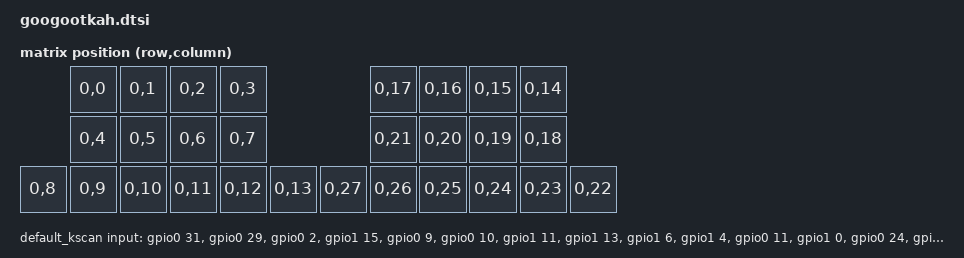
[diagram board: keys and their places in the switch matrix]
#include <dt-bindings/zmk/matrix_transform.h>

// nice!view setup
&pinctrl {
    spi0_default: spi0_default {
        group1 {
            psels = <NRF_PSEL(SPIM_SCK, 1, 2)>,
                    <NRF_PSEL(SPIM_MOSI, 1, 7)>,
                    <NRF_PSEL(SPIM_MISO, 10, 0)>;
        };
    };
    spi0_sleep: spi0_sleep {
        group1 {
            psels = <NRF_PSEL(SPIM_SCK, 1, 2)>,
                    <NRF_PSEL(SPIM_MOSI, 1, 7)>,
                    <NRF_PSEL(SPIM_MISO, 10, 0)>;
            low-power-enable;
        };
    };
};

nice_view_spi: &spi0 {
    compatible = "nordic,nrf-spim";
    pinctrl-0 = <&spi0_default>;
    pinctrl-1 = <&spi0_sleep>;
    pinctrl-names = "default", "sleep";
    cs-gpios = <&gpio1 1 GPIO_ACTIVE_HIGH>;
};


&pro_micro_i2c {
    status = "disabled";
};

// Key scan setup
/ {
    chosen {
        zmk,kscan = &default_kscan;
        zmk,matrix_transform = &default_transform;
    };

    default_transform: keymap_transform_0 {
        compatible = "zmk,matrix-transform";
        columns = <24>;
        rows = <1>;
        map = <
                     RC(0,0)  RC(0,1)  RC(0,2)  RC(0,3)                      RC(0,17) RC(0,16) RC(0,15) RC(0,14)  
                     RC(0,4)  RC(0,5)  RC(0,6)  RC(0,7)                      RC(0,21) RC(0,20) RC(0,19) RC(0,18)
            RC(0,8)  RC(0,9)  RC(0,10) RC(0,11) RC(0,12) RC(0,13)   RC(0,27) RC(0,26) RC(0,25) RC(0,24) RC(0,23) RC(0,22) 
        >;
    };

    default_kscan: kscan {
        compatible = "zmk,kscan-gpio-direct";
        label = "KSCAN";
        // top left to bottom right
        input-gpios =
            <&gpio0 31 (GPIO_ACTIVE_LOW | GPIO_PULL_UP)>,
            <&gpio0 29 (GPIO_ACTIVE_LOW | GPIO_PULL_UP)>,
            <&gpio0 2  (GPIO_ACTIVE_LOW | GPIO_PULL_UP)>,
            <&gpio1 15 (GPIO_ACTIVE_LOW | GPIO_PULL_UP)>,

            <&gpio0 9  (GPIO_ACTIVE_LOW | GPIO_PULL_UP)>,
            <&gpio0 10 (GPIO_ACTIVE_LOW | GPIO_PULL_UP)>,
            <&gpio1 11 (GPIO_ACTIVE_LOW | GPIO_PULL_UP)>,
            <&gpio1 13 (GPIO_ACTIVE_LOW | GPIO_PULL_UP)>,

            <&gpio1 6  (GPIO_ACTIVE_LOW | GPIO_PULL_UP)>,
            <&gpio1 4  (GPIO_ACTIVE_LOW | GPIO_PULL_UP)>,
            <&gpio0 11 (GPIO_ACTIVE_LOW | GPIO_PULL_UP)>,
            <&gpio1 0  (GPIO_ACTIVE_LOW | GPIO_PULL_UP)>,
            <&gpio0 24 (GPIO_ACTIVE_LOW | GPIO_PULL_UP)>,
            <&gpio0 22 (GPIO_ACTIVE_LOW | GPIO_PULL_UP)>
        ;
    };
};
